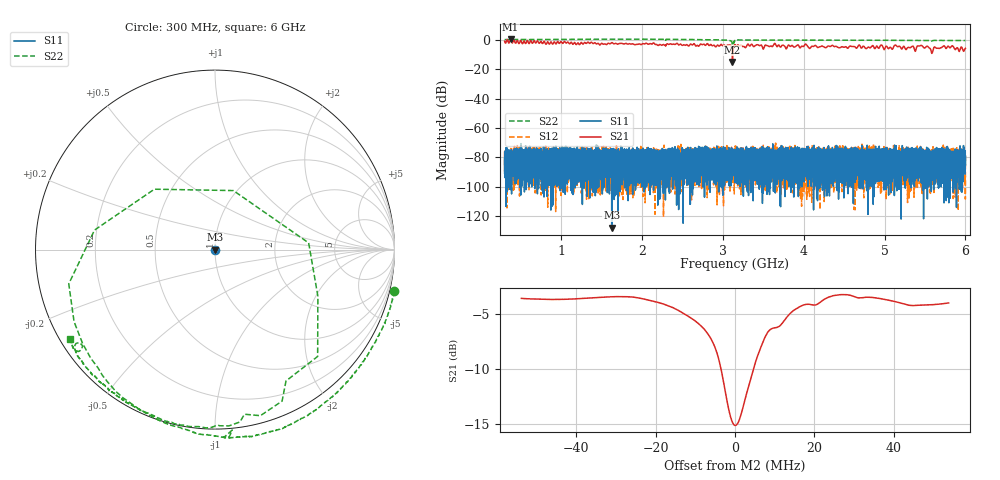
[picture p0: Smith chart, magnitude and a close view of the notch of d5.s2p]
!Agilent Technologies,N5230C,SG49000117,A.08.50.07
!Agilent N5230C: A.08.50.07
!Date: Sunday, March 17, 2024 09:16:38
!Correction: S11(Off)
!S21(Off)
!S12(Off)
!S22(Full 1 Port(2))
!S2P File: Measurements: S11, S21, S12, S22:
# Hz S  RI  R 50
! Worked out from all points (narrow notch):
!   20001 points, 300 MHz to 6 GHz, reference 50 ohm
!   highest |S21| = 0.45 dB at 373.8 MHz (marker M1); lowest = -15.1 dB at 3.118 GHz (marker M2)
!   notch at M2: 11.4 dB deep, 9.01 MHz wide at half that depth
!   lowest |S11| = -128.0 dB at 1.625 GHz (marker M3), VSWR 1.00, Z = 50 - j3.82e-05 ohm
!   |S11| at or under -10 dB: start of sweep to end of sweep
!   |S22| runs from -9.4 to 0.6 dB; largest |S21 - S12| = 1.1
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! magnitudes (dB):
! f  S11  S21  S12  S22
! 300 MHz  -90.9  -1.0  -85.5  0.2
! 373.8 MHz  -86.6  0.5  -79.4  0.2
! 1.25 GHz  -83.1  -1.8  -84.3  0.4
! 1.625 GHz  -128.0  -1.9  -82.6  0.5
! 2.2 GHz  -84.4  -3.8  -76.9  0.4
! 3.074 GHz  -77.1  -3.6  -84.5  -0.2
! 3.118 GHz  -81.1  -15.1  -87.6  -5.2
! 3.15 GHz  -89.1  -3.5  -76.2  -0.6
! 3.193 GHz  -79.3  -3.6  -83.4  0.0
! 3.51 GHz  -75.0  -5.1  -74.6  -0.1
! 3.642 GHz  -78.5  -2.3  -80.9  -0.1
! 3.778 GHz  -77.7  -5.9  -90.2  -0.2
! 4.024 GHz  -89.2  -2.8  -78.1  -0.2
! 4.1 GHz  -83.2  -4.3  -77.4  -0.2
! 5.05 GHz  -86.9  -6.0  -77.7  -0.2
! 5.145 GHz  -76.0  -3.9  -88.9  -0.3
! 5.38 GHz  -86.8  -7.8  -82.5  -0.3
! 5.438 GHz  -83.7  -4.0  -78.5  -0.3
! 5.539 GHz  -75.0  -4.7  -86.6  -0.4
! 5.579 GHz  -84.6  -8.4  -86.8  -0.7
! 5.724 GHz  -86.9  -4.4  -81.3  -0.4
! 6 GHz  -84.6  -5.8  -77.6  -0.4
